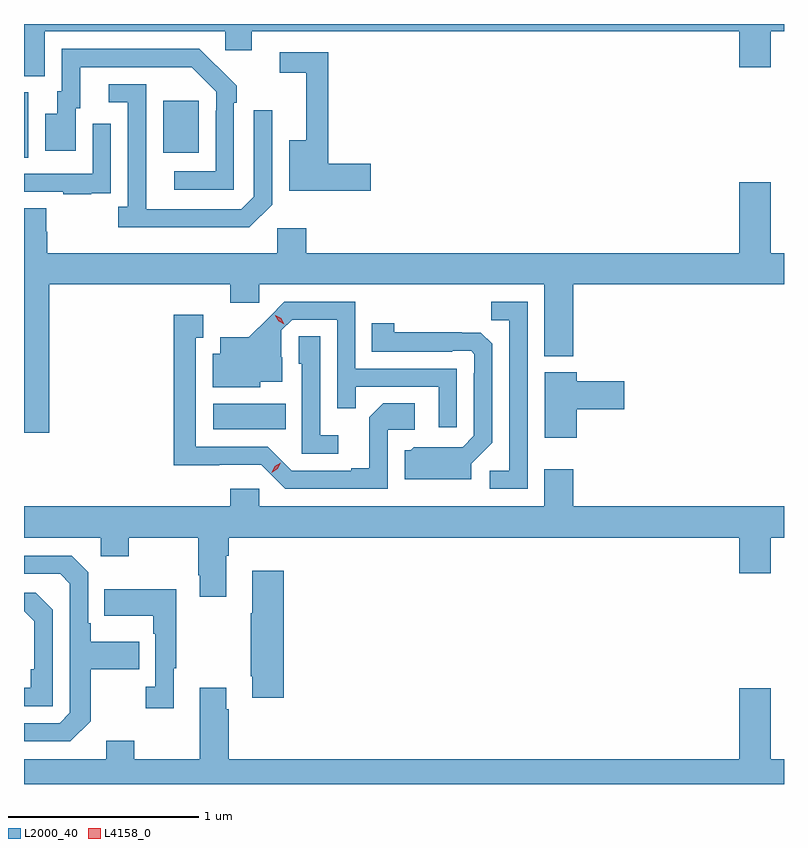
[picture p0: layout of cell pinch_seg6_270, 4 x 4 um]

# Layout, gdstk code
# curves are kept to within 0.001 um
import gdstk
lib = gdstk.Library(unit=1e-6, precision=1e-09)
def R(c, l, rs):  # rectangles x0, y0, x1, y1
    for r in rs: c.add(gdstk.rectangle(r[:2], r[2:], *l))
def P(c, l, *ps):  # polygons
    for p in ps: c.add(gdstk.Polygon(p, *l))
L2000_40 = (2000, 40)
L4158_0 = (4158, 0)

pinch_seg6_270 = lib.new_cell('pinch_seg6_270')
R(pinch_seg6_270, L2000_40, [(881.52,985.202,881.9,985.336), (880.523,986.632,880.546,986.976), (881.255,986.657,881.443,986.932)])
P(pinch_seg6_270, L2000_40, [(880.633,987.296),(881.583,987.296),(881.583,987.198),(881.722,987.198),(881.722,987.296),(884.288,987.296),(884.288,987.108),(884.452,987.108),(884.452,987.296),(884.523,987.296),(884.523,987.335),(880.523,987.335),(880.523,987.061),(880.633,987.061)],
  [(881.628,986.921),(881.643,986.921),(881.643,987.009),(881.446,987.204),(880.722,987.204),(880.722,986.982),(880.697,986.982),(880.697,986.863),(880.634,986.863),(880.634,986.667),(880.795,986.667),(880.795,986.892),(880.819,986.892),(880.819,987.108),(881.407,987.108),(881.535,986.979),(881.535,986.879),(881.532,986.879),(881.532,986.559),(881.313,986.559),(881.313,986.463),(881.628,986.463)],
  [(882.349,986.6),(882.125,986.6),(882.125,987.186),(881.868,987.186),(881.868,987.078),(882.008,987.078),(882.008,986.722),(881.918,986.722),(881.918,986.458),(882.349,986.458)],
  [(881.829,986.385),(881.829,986.881),(881.733,986.881),(881.733,986.427),(881.667,986.361),(881.167,986.361),(881.166,987.018),(880.968,987.018),(880.968,986.922),(881.07,986.922),(881.07,986.374),(881.019,986.374),(881.019,986.264),(881.708,986.264)],
  [(880.877,986.445),(880.979,986.445),(880.979,986.554),(880.98,986.554),(880.98,986.809),(880.884,986.809),(880.884,986.547),(880.523,986.547),(880.523,986.451),(880.729,986.451),(880.729,986.439),(880.877,986.439)],
  [(880.655,985.964),(881.609,985.964),(881.609,985.869),(881.76,985.869),(881.76,985.964),(883.262,985.964),(883.262,985.586),(883.415,985.586),(883.415,985.964),(884.523,985.964),(884.523,986.128),(884.452,986.128),(884.452,986.503),(884.288,986.503),(884.288,986.128),(882.008,986.128),(882.008,986.26),(881.856,986.26),(881.856,986.128),(880.646,986.128),(880.646,986.241),(880.641,986.241),(880.641,986.366),(880.523,986.366),(880.523,985.185),(880.655,985.185)],
  [(883.173,985.872),(882.982,985.872),(882.982,985.777),(883.077,985.777),(883.077,984.984),(882.975,984.984),(882.975,984.888),(883.173,984.888)],
  [(882.801,985.521),(882.267,985.521),(882.267,985.872),(881.894,985.872),(881.707,985.687),(881.555,985.687),(881.555,985.6),(881.516,985.6),(881.516,985.424),(881.766,985.424),(881.766,985.451),(881.881,985.451),(881.881,985.58),(881.877,985.58),(881.877,985.722),(881.934,985.779),(882.171,985.779),(882.171,985.312),(882.269,985.312),(882.269,985.425),(882.705,985.425),(882.705,985.212),(882.801,985.212)],
  [(882.438,985.2),(882.58,985.2),(882.58,985.34),(882.415,985.34),(882.339,985.264),(882.339,984.997),(882.245,984.997),(882.245,984.984),(881.931,984.984),(881.805,985.11),(881.428,985.11),(881.428,985.683),(881.467,985.683),(881.467,985.804),(881.31,985.804),(881.31,985.013),(881.772,985.014),(881.898,984.888),(882.438,984.888)],
  [(882.877,985.02),(882.987,985.13),(882.987,985.652),(882.928,985.711),(882.471,985.712),(882.471,985.759),(882.352,985.759),(882.352,985.611),(882.776,985.611),(882.776,985.614),(882.876,985.614),(882.894,985.596),(882.894,985.496),(882.891,985.496),(882.891,985.167),(882.831,985.107),(882.574,985.108),(882.558,985.092),(882.527,985.092),(882.527,984.938),(882.877,984.938)],
  [(882.178,985.171),(882.081,985.171),(882.081,985.691),(881.97,985.691),(881.97,985.548),(881.985,985.548),(881.985,985.074),(882.178,985.074)],
  [(883.432,985.307),(883.681,985.307),(883.681,985.454),(883.432,985.454),(883.432,985.501),(883.265,985.501),(883.265,985.158),(883.432,985.158)],
  [(881.587,984.536),(881.6,984.536),(881.6,984.632),(884.288,984.632),(884.288,984.444),(884.452,984.444),(884.452,984.632),(884.523,984.632),(884.523,984.796),(883.415,984.796),(883.415,984.991),(883.262,984.991),(883.262,984.796),(881.76,984.796),(881.76,984.889),(881.609,984.889),(881.609,984.796),(880.523,984.796),(880.523,984.632),(880.926,984.632),(880.926,984.533),(881.073,984.533),(881.073,984.632),(881.44,984.632),(881.44,984.433),(881.447,984.433),(881.447,984.321),(881.587,984.321)],
  [(880.873,983.665),(880.873,983.938),(881.129,983.938),(881.129,984.085),(880.873,984.085),(880.873,984.181),(880.86,984.181),(880.86,984.45),(880.773,984.537),(880.523,984.537),(880.523,984.441),(880.713,984.441),(880.764,984.39),(880.764,983.709),(880.71,983.655),(880.523,983.655),(880.523,983.559),(880.767,983.559)],
  [(881.891,984.457),(881.723,984.457),(881.723,984.233),(881.716,984.233),(881.716,983.902),(881.723,983.902),(881.723,983.79),(881.891,983.79)],
  [(881.311,983.945),(881.323,983.945),(881.323,984.361),(880.945,984.361),(880.945,984.221),(881.202,984.221),(881.202,984.125),(881.214,984.125),(881.214,983.846),(881.163,983.846),(881.163,983.733),(881.311,983.733)],
  [(880.674,984.252),(880.584,984.342),(880.523,984.342),(880.523,984.245),(880.525,984.245),(880.578,984.192),(880.578,983.938),(880.558,983.938),(880.558,983.841),(880.523,983.841),(880.523,983.745),(880.674,983.745)],
  [(880.955,983.563),(880.955,983.464),(880.523,983.464),(880.523,983.335),(884.523,983.335),(884.523,983.464),(884.452,983.464),(884.452,983.839),(884.288,983.839),(884.288,983.464),(881.6,983.464),(881.6,983.729),(881.587,983.729),(881.587,983.842),(881.447,983.842),(881.447,983.464),(881.103,983.464),(881.103,983.563)])
P(pinch_seg6_270, L4158_0, [(881.894,985.756),(881.864,985.771),(881.846,985.8),(881.846,985.801),(881.846,985.801),(881.877,985.786),(881.894,985.756),(881.894,985.756)],
  [(881.826,984.974),(881.826,984.975),(881.844,985.007),(881.875,985.026),(881.875,985.026),(881.875,985.026),(881.858,984.993),(881.827,984.974)])

lib.write_gds('pinch_seg6_270.gds')
